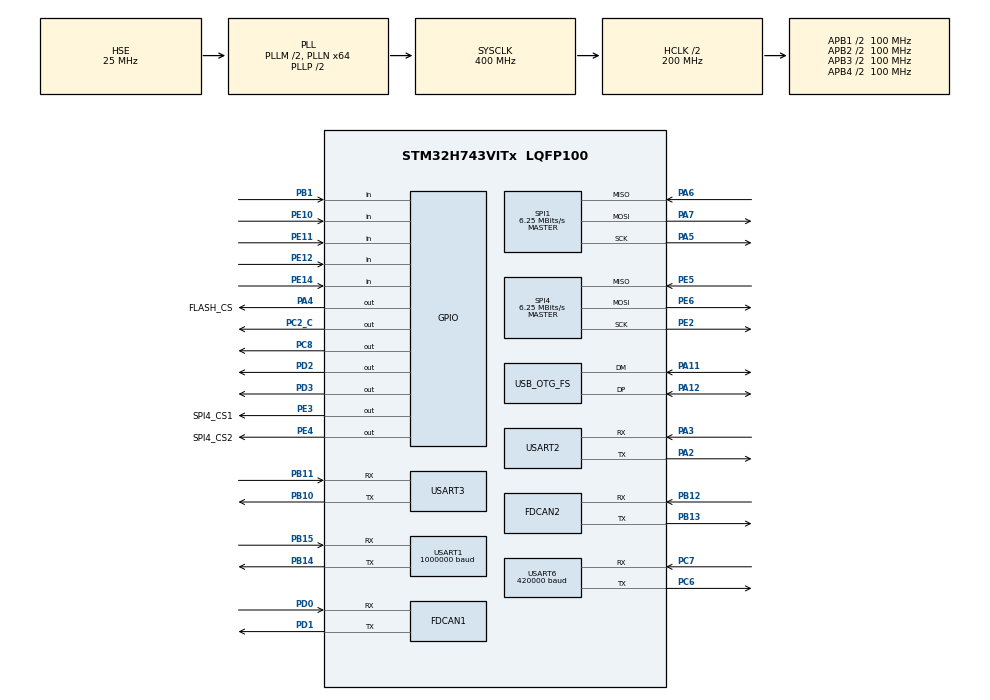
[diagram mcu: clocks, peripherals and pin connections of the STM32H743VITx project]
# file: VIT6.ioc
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CORTEX_M7.AccessPermission_Spec=MPU_REGION_FULL_ACCESS
CORTEX_M7.BaseAddress_Spec=0x30040000
CORTEX_M7.CPU_DCache=Enabled
CORTEX_M7.CPU_ICache=Enabled
CORTEX_M7.IsShareable_Spec=MPU_ACCESS_NOT_SHAREABLE
CORTEX_M7.Size_Spec=MPU_REGION_SIZE_32KB
CORTEX_M7.SubRegionDisable_Spec=0x0
CORTEX_M7.TypeExtField_Spec=MPU_TEX_LEVEL1
CORTEX_M7.default_mode_Activation=1
Dma.Request0=USART6_RX
Dma.Request1=USART1_RX
Dma.Request2=USART1_TX
Dma.Request3=USART2_RX
Dma.Request4=USART2_TX
Dma.Request5=USART3_TX
Dma.Request6=USART3_RX
Dma.USART1_RX.1.Direction=DMA_PERIPH_TO_MEMORY
Dma.USART1_RX.1.EventEnable=DISABLE
Dma.USART1_RX.1.FIFOMode=DMA_FIFOMODE_DISABLE
Dma.USART1_RX.1.Instance=DMA1_Stream1
Dma.USART1_RX.1.MemDataAlignment=DMA_MDATAALIGN_BYTE
Dma.USART1_RX.1.MemInc=DMA_MINC_ENABLE
Dma.USART1_RX.1.Mode=DMA_NORMAL
Dma.USART1_RX.1.PeriphDataAlignment=DMA_PDATAALIGN_BYTE
Dma.USART1_RX.1.PeriphInc=DMA_PINC_DISABLE
Dma.USART1_RX.1.Polarity=HAL_DMAMUX_REQ_GEN_RISING
Dma.USART1_RX.1.Priority=DMA_PRIORITY_LOW
Dma.USART1_RX.1.RequestNumber=1
Dma.USART1_RX.1.SignalID=NONE
Dma.USART1_RX.1.SyncEnable=DISABLE
Dma.USART1_RX.1.SyncPolarity=HAL_DMAMUX_SYNC_NO_EVENT
Dma.USART1_RX.1.SyncRequestNumber=1
Dma.USART1_RX.1.SyncSignalID=NONE
Dma.USART1_TX.2.Direction=DMA_MEMORY_TO_PERIPH
Dma.USART1_TX.2.EventEnable=DISABLE
Dma.USART1_TX.2.FIFOMode=DMA_FIFOMODE_DISABLE
Dma.USART1_TX.2.Instance=DMA1_Stream2
Dma.USART1_TX.2.MemDataAlignment=DMA_MDATAALIGN_BYTE
Dma.USART1_TX.2.MemInc=DMA_MINC_ENABLE
Dma.USART1_TX.2.Mode=DMA_NORMAL
Dma.USART1_TX.2.PeriphDataAlignment=DMA_PDATAALIGN_BYTE
Dma.USART1_TX.2.PeriphInc=DMA_PINC_DISABLE
Dma.USART1_TX.2.Polarity=HAL_DMAMUX_REQ_GEN_RISING
Dma.USART1_TX.2.Priority=DMA_PRIORITY_LOW
Dma.USART1_TX.2.RequestNumber=1
Dma.USART1_TX.2.SignalID=NONE
Dma.USART1_TX.2.SyncEnable=DISABLE
Dma.USART1_TX.2.SyncPolarity=HAL_DMAMUX_SYNC_NO_EVENT
Dma.USART1_TX.2.SyncRequestNumber=1
Dma.USART1_TX.2.SyncSignalID=NONE
Dma.USART2_RX.3.Direction=DMA_PERIPH_TO_MEMORY
Dma.USART2_RX.3.EventEnable=DISABLE
Dma.USART2_RX.3.FIFOMode=DMA_FIFOMODE_DISABLE
Dma.USART2_RX.3.Instance=DMA1_Stream3
Dma.USART2_RX.3.MemDataAlignment=DMA_MDATAALIGN_BYTE
Dma.USART2_RX.3.MemInc=DMA_MINC_ENABLE
Dma.USART2_RX.3.Mode=DMA_CIRCULAR
Dma.USART2_RX.3.PeriphDataAlignment=DMA_PDATAALIGN_BYTE
Dma.USART2_RX.3.PeriphInc=DMA_PINC_DISABLE
Dma.USART2_RX.3.Polarity=HAL_DMAMUX_REQ_GEN_RISING
Dma.USART2_RX.3.Priority=DMA_PRIORITY_LOW
Dma.USART2_RX.3.RequestNumber=1
Dma.USART2_RX.3.SignalID=NONE
Dma.USART2_RX.3.SyncEnable=DISABLE
Dma.USART2_RX.3.SyncPolarity=HAL_DMAMUX_SYNC_NO_EVENT
Dma.USART2_RX.3.SyncRequestNumber=1
Dma.USART2_RX.3.SyncSignalID=NONE
Dma.USART2_TX.4.Direction=DMA_MEMORY_TO_PERIPH
Dma.USART2_TX.4.EventEnable=DISABLE
Dma.USART2_TX.4.FIFOMode=DMA_FIFOMODE_DISABLE
Dma.USART2_TX.4.Instance=DMA1_Stream4
Dma.USART2_TX.4.MemDataAlignment=DMA_MDATAALIGN_BYTE
Dma.USART2_TX.4.MemInc=DMA_MINC_ENABLE
Dma.USART2_TX.4.Mode=DMA_NORMAL
Dma.USART2_TX.4.PeriphDataAlignment=DMA_PDATAALIGN_BYTE
Dma.USART2_TX.4.PeriphInc=DMA_PINC_DISABLE
Dma.USART2_TX.4.Polarity=HAL_DMAMUX_REQ_GEN_RISING
Dma.USART2_TX.4.Priority=DMA_PRIORITY_LOW
Dma.USART2_TX.4.RequestNumber=1
Dma.USART2_TX.4.SignalID=NONE
Dma.USART2_TX.4.SyncEnable=DISABLE
Dma.USART2_TX.4.SyncPolarity=HAL_DMAMUX_SYNC_NO_EVENT
Dma.USART2_TX.4.SyncRequestNumber=1
Dma.USART2_TX.4.SyncSignalID=NONE
Dma.USART3_RX.6.Direction=DMA_PERIPH_TO_MEMORY
Dma.USART3_RX.6.EventEnable=DISABLE
Dma.USART3_RX.6.FIFOMode=DMA_FIFOMODE_DISABLE
Dma.USART3_RX.6.Instance=DMA2_Stream3
Dma.USART3_RX.6.MemDataAlignment=DMA_MDATAALIGN_BYTE
Dma.USART3_RX.6.MemInc=DMA_MINC_ENABLE
Dma.USART3_RX.6.Mode=DMA_NORMAL
Dma.USART3_RX.6.PeriphDataAlignment=DMA_PDATAALIGN_BYTE
Dma.USART3_RX.6.PeriphInc=DMA_PINC_DISABLE
Dma.USART3_RX.6.Polarity=HAL_DMAMUX_REQ_GEN_RISING
Dma.USART3_RX.6.Priority=DMA_PRIORITY_LOW
Dma.USART3_RX.6.RequestNumber=1
Dma.USART3_RX.6.SignalID=NONE
Dma.USART3_RX.6.SyncEnable=DISABLE
Dma.USART3_RX.6.SyncPolarity=HAL_DMAMUX_SYNC_NO_EVENT
Dma.USART3_RX.6.SyncRequestNumber=1
Dma.USART3_RX.6.SyncSignalID=NONE
Dma.USART3_TX.5.Direction=DMA_MEMORY_TO_PERIPH
Dma.USART3_TX.5.EventEnable=DISABLE
Dma.USART3_TX.5.FIFOMode=DMA_FIFOMODE_DISABLE
Dma.USART3_TX.5.Instance=DMA1_Stream5
Dma.USART3_TX.5.MemDataAlignment=DMA_MDATAALIGN_BYTE
Dma.USART3_TX.5.MemInc=DMA_MINC_ENABLE
Dma.USART3_TX.5.Mode=DMA_NORMAL
Dma.USART3_TX.5.PeriphDataAlignment=DMA_PDATAALIGN_BYTE
Dma.USART3_TX.5.PeriphInc=DMA_PINC_DISABLE
Dma.USART3_TX.5.Polarity=HAL_DMAMUX_REQ_GEN_RISING
Dma.USART3_TX.5.Priority=DMA_PRIORITY_LOW
Dma.USART3_TX.5.RequestNumber=1
Dma.USART3_TX.5.SignalID=NONE
Dma.USART3_TX.5.SyncEnable=DISABLE
Dma.USART3_TX.5.SyncPolarity=HAL_DMAMUX_SYNC_NO_EVENT
Dma.USART3_TX.5.SyncRequestNumber=1
Dma.USART3_TX.5.SyncSignalID=NONE
Dma.USART6_RX.0.Direction=DMA_PERIPH_TO_MEMORY
Dma.USART6_RX.0.EventEnable=DISABLE
Dma.USART6_RX.0.FIFOMode=DMA_FIFOMODE_DISABLE
Dma.USART6_RX.0.Instance=DMA1_Stream0
Dma.USART6_RX.0.MemDataAlignment=DMA_MDATAALIGN_BYTE
Dma.USART6_RX.0.MemInc=DMA_MINC_ENABLE
Dma.USART6_RX.0.Mode=DMA_CIRCULAR
Dma.USART6_RX.0.PeriphDataAlignment=DMA_PDATAALIGN_BYTE
Dma.USART6_RX.0.PeriphInc=DMA_PINC_DISABLE
Dma.USART6_RX.0.Polarity=HAL_DMAMUX_REQ_GEN_RISING
Dma.USART6_RX.0.Priority=DMA_PRIORITY_LOW
Dma.USART6_RX.0.RequestNumber=1
Dma.USART6_RX.0.SignalID=NONE
Dma.USART6_RX.0.SyncEnable=DISABLE
Dma.USART6_RX.0.SyncPolarity=HAL_DMAMUX_SYNC_NO_EVENT
Dma.USART6_RX.0.SyncRequestNumber=1
Dma.USART6_RX.0.SyncSignalID=NONE
FDCAN1.AutoRetransmission=ENABLE
FDCAN1.CalculateBaudRateNominal=1000000
FDCAN1.CalculateTimeBitNominal=1000
FDCAN1.CalculateTimeQuantumNominal=50.0
FDCAN1.DataPrescaler=2
FDCAN1.DataTimeSeg1=15
FDCAN1.DataTimeSeg2=4
FDCAN1.FrameFormat=FDCAN_FRAME_CLASSIC
FDCAN1.Mode=FDCAN_MODE_NORMAL
FDCAN1.NominalPrescaler=5
FDCAN1.NominalSyncJumpWidth=4
FDCAN1.NominalTimeSeg1=15
FDCAN1.NominalTimeSeg2=4
FDCAN1.RxBufferSize=FDCAN_DATA_BYTES_64
FDCAN1.RxFifo0ElmtSize=FDCAN_DATA_BYTES_64
FDCAN1.RxFifo0ElmtsNbr=24
FDCAN1.RxFifo1ElmtSize=FDCAN_DATA_BYTES_64
FDCAN1.RxFifo1ElmtsNbr=8
FDCAN1.StdFiltersNbr=8
FDCAN1.TxBuffersNbr=0
FDCAN1.TxElmtSize=FDCAN_DATA_BYTES_64
FDCAN1.TxFifoQueueElmtsNbr=32
FDCAN2.AutoRetransmission=ENABLE
FDCAN2.CalculateBaudRateNominal=1000000
FDCAN2.CalculateTimeBitNominal=1000
FDCAN2.CalculateTimeQuantumNominal=50.0
FDCAN2.DataPrescaler=2
FDCAN2.DataTimeSeg1=15
FDCAN2.DataTimeSeg2=4
FDCAN2.FrameFormat=FDCAN_FRAME_CLASSIC
FDCAN2.MessageRAMOffset=1280
FDCAN2.Mode=FDCAN_MODE_NORMAL
FDCAN2.NominalPrescaler=5
FDCAN2.NominalSyncJumpWidth=4
FDCAN2.NominalTimeSeg1=15
FDCAN2.NominalTimeSeg2=4
FDCAN2.ProtocolException=DISABLE
FDCAN2.RxBufferSize=FDCAN_DATA_BYTES_64
FDCAN2.RxFifo0ElmtSize=FDCAN_DATA_BYTES_64
FDCAN2.RxFifo0ElmtsNbr=24
FDCAN2.RxFifo1ElmtSize=FDCAN_DATA_BYTES_64
FDCAN2.RxFifo1ElmtsNbr=8
FDCAN2.StdFiltersNbr=8
FDCAN2.TxBuffersNbr=0
FDCAN2.TxElmtSize=FDCAN_DATA_BYTES_64
FDCAN2.TxFifoQueueElmtsNbr=32
FREERTOS.Tasks01=Chassis_Task,32,512,ChassisControl,Default,NULL,Dynamic,NULL,NULL;DJIMotor_Task,40,1024,DJIMotor,Default,NULL,Dynamic,NULL,NULL;usb_Task,32,512,Usb_Task,Default,NULL,Dynamic,NULL,NULL;Remot_Task,32,128,StartRemote,Default,NULL,Dynamic,NULL,NULL;Catch_Task,16,768,catch_start,Default,NULL,Dynamic,NULL,NULL;Arm_Task,16,512,Arm_Start,Default,NULL,Dynamic,NULL,NULL
FREERTOS.configENABLE_FPU=1
FREERTOS.configTOTAL_HEAP_SIZE=32768
Mcu.Family=STM32H7
Mcu.Name=STM32H743VITx
Mcu.Package=LQFP100
NVIC.DMA1_Stream0_IRQn=true\:5\:0\:false\:false\:true\:true\:false\:true\:true
NVIC.DMA1_Stream1_IRQn=true\:5\:0\:false\:false\:true\:true\:false\:true\:true
NVIC.DMA1_Stream2_IRQn=true\:5\:0\:false\:false\:true\:true\:false\:true\:true
NVIC.DMA1_Stream3_IRQn=true\:5\:0\:false\:false\:true\:true\:false\:true\:true
NVIC.DMA1_Stream4_IRQn=true\:5\:0\:false\:false\:true\:true\:false\:true\:true
NVIC.DMA1_Stream5_IRQn=true\:5\:0\:false\:false\:true\:true\:false\:true\:true
NVIC.DMA2_Stream3_IRQn=true\:5\:0\:false\:false\:true\:false\:false\:true\:true
NVIC.FDCAN1_IT0_IRQn=true\:5\:0\:false\:false\:true\:true\:true\:true\:true
NVIC.FDCAN1_IT1_IRQn=true\:5\:0\:true\:false\:true\:true\:true\:true\:true
NVIC.FDCAN2_IT0_IRQn=true\:5\:0\:true\:false\:true\:true\:true\:true\:true
NVIC.FDCAN2_IT1_IRQn=true\:5\:0\:false\:false\:true\:true\:true\:true\:true
NVIC.OTG_FS_IRQn=true\:5\:0\:false\:false\:true\:true\:false\:true\:true
NVIC.PriorityGroup=NVIC_PRIORITYGROUP_4
NVIC.TIM7_IRQn=true\:15\:0\:false\:false\:true\:false\:false\:true\:true
NVIC.TimeBase=TIM7_IRQn
NVIC.TimeBaseIP=TIM7
NVIC.USART1_IRQn=true\:5\:0\:false\:false\:true\:true\:true\:true\:true
NVIC.USART2_IRQn=true\:5\:0\:false\:false\:true\:true\:true\:true\:true
NVIC.USART6_IRQn=true\:6\:0\:true\:false\:true\:true\:true\:true\:true
PA11.Mode=Device_Only
PA11.Signal=USB_OTG_FS_DM
PA12.Mode=Device_Only
PA12.Signal=USB_OTG_FS_DP
PA13\ (JTMS/SWDIO).Mode=Serial_Wire
PA13\ (JTMS/SWDIO).Signal=DEBUG_JTMS-SWDIO
PA14\ (JTCK/SWCLK).Mode=Serial_Wire
PA14\ (JTCK/SWCLK).Signal=DEBUG_JTCK-SWCLK
PA2.Mode=Asynchronous
PA2.Signal=USART2_TX
PA3.Mode=Asynchronous
PA3.Signal=USART2_RX
PA4.GPIO_Label=FLASH_CS
PA4.GPIO_PuPd=GPIO_PULLUP
PA4.GPIO_Speed=GPIO_SPEED_FREQ_HIGH
PA4.PinState=GPIO_PIN_SET
PA4.Signal=GPIO_Output
PA5.GPIO_Speed=GPIO_SPEED_FREQ_HIGH
PA5.Mode=Full_Duplex_Master
PA5.Signal=SPI1_SCK
PA6.GPIO_Speed=GPIO_SPEED_FREQ_HIGH
PA6.Mode=Full_Duplex_Master
PA6.Signal=SPI1_MISO
PA7.GPIO_Speed=GPIO_SPEED_FREQ_HIGH
PA7.Mode=Full_Duplex_Master
PA7.Signal=SPI1_MOSI
PB1.Signal=GPIO_Input
PB10.Mode=Asynchronous
PB10.Signal=USART3_TX
PB11.Mode=Asynchronous
PB11.Signal=USART3_RX
PB12.GPIO_Speed=GPIO_SPEED_FREQ_VERY_HIGH
PB12.Mode=FDCAN_Activate
PB12.Signal=FDCAN2_RX
PB13.GPIO_Speed=GPIO_SPEED_FREQ_VERY_HIGH
PB13.Mode=FDCAN_Activate
PB13.Signal=FDCAN2_TX
PB14.Mode=Asynchronous
PB14.Signal=USART1_TX
PB15.Mode=Asynchronous
PB15.Signal=USART1_RX
PC2_C.Signal=GPIO_Output
PC6.Mode=Asynchronous
PC6.Signal=USART6_TX
PC7.Mode=Asynchronous
PC7.Signal=USART6_RX
PC8.Signal=GPIO_Output
PD0.GPIO_Speed=GPIO_SPEED_FREQ_VERY_HIGH
PD0.Mode=FDCAN_Activate
PD0.Signal=FDCAN1_RX
PD1.GPIO_Speed=GPIO_SPEED_FREQ_VERY_HIGH
PD1.Mode=FDCAN_Activate
PD1.Signal=FDCAN1_TX
PD2.Signal=GPIO_Output
PD3.Signal=GPIO_Output
PE10.Signal=GPIO_Input
PE11.Signal=GPIO_Input
PE12.Signal=GPIO_Input
PE14.Signal=GPIO_Input
PE2.Mode=Full_Duplex_Master
PE2.Signal=SPI4_SCK
PE3.GPIO_Label=SPI4_CS1
PE3.PinState=GPIO_PIN_SET
PE3.Signal=GPIO_Output
PE4.GPIO_Label=SPI4_CS2
PE4.PinState=GPIO_PIN_SET
PE4.Signal=GPIO_Output
PE5.Mode=Full_Duplex_Master
PE5.Signal=SPI4_MISO
PE6.Mode=Full_Duplex_Master
PE6.Signal=SPI4_MOSI
PH0-OSC_IN\ (PH0).Mode=HSE-External-Oscillator
PH0-OSC_IN\ (PH0).Signal=RCC_OSC_IN
PH1-OSC_OUT\ (PH1).Mode=HSE-External-Oscillator
PH1-OSC_OUT\ (PH1).Signal=RCC_OSC_OUT
ProjectManager.HeapSize=0x4000
ProjectManager.StackSize=0x1000
ProjectManager.TargetToolchain=MDK-ARM V5.32
RCC.ADCFreq_Value=50390625
RCC.APB1Freq_Value=100000000
RCC.APB2Freq_Value=100000000
RCC.APB3Freq_Value=100000000
RCC.APB4Freq_Value=100000000
RCC.CortexFreq_Value=400000000
RCC.D1PPRE=RCC_APB3_DIV2
RCC.D2PPRE1=RCC_APB1_DIV2
RCC.D2PPRE2=RCC_APB2_DIV2
RCC.D3PPRE=RCC_APB4_DIV2
RCC.DIVM1=2
RCC.DIVM3=5
RCC.DIVN1=64
RCC.DIVN3=96
RCC.DIVQ1=8
RCC.DIVQ3=10
RCC.HCLKFreq_Value=200000000
RCC.HPRE=RCC_HCLK_DIV2
RCC.PLL2FRACN=0
RCC.PLL3FRACN=0
RCC.PLLFRACN=0
RCC.PLLSourceVirtual=RCC_PLLSOURCE_HSE
RCC.SYSCLKFreq_VALUE=400000000
RCC.SYSCLKSource=RCC_SYSCLKSOURCE_PLLCLK
RCC.USBCLockSelection=RCC_USBCLKSOURCE_PLL3
RCC.USBFreq_Value=48000000
SPI1.BaudRatePrescaler=SPI_BAUDRATEPRESCALER_16
SPI1.CalculateBaudRate=6.25 MBits/s
SPI1.DataSize=SPI_DATASIZE_8BIT
SPI1.Direction=SPI_DIRECTION_2LINES
SPI1.Mode=SPI_MODE_MASTER
SPI1.NSSPMode=SPI_NSS_PULSE_DISABLE
SPI1.VirtualType=VM_MASTER
SPI4.BaudRatePrescaler=SPI_BAUDRATEPRESCALER_16
SPI4.CalculateBaudRate=6.25 MBits/s
SPI4.DataSize=SPI_DATASIZE_8BIT
SPI4.Direction=SPI_DIRECTION_2LINES
SPI4.Mode=SPI_MODE_MASTER
SPI4.NSSPMode=SPI_NSS_PULSE_DISABLE
SPI4.VirtualType=VM_MASTER
USART1.BaudRate=1000000
USART1.FIFOMode=FIFOMODE_ENABLE
USART1.VirtualMode-Asynchronous=VM_ASYNC
USART2.VirtualMode-Asynchronous=VM_ASYNC
USART3.VirtualMode-Asynchronous=VM_ASYNC
USART6.BaudRate=420000
USART6.VirtualMode=VM_ASYNC
USB_DEVICE.CLASS_NAME_FS=CDC
USB_DEVICE.VirtualMode-CDC_FS=Cdc
USB_DEVICE.VirtualModeFS=Cdc_FS
USB_OTG_FS.VirtualMode=Device_Only
VP_FREERTOS_VS_CMSIS_V2.Mode=CMSIS_V2
VP_MEMORYMAP_VS_MEMORYMAP.Mode=CurAppReg
VP_SYS_VS_tim7.Mode=TIM7
VP_USB_DEVICE_VS_USB_DEVICE_CDC_FS.Mode=CDC_FS
board=custom

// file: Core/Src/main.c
/* USER CODE BEGIN Header */
/**
  ******************************************************************************
  * @file           : main.c
  * @brief          : Main program body
  ******************************************************************************
  * @attention
  *
  * Copyright (c) 2026 STMicroelectronics.
  * All rights reserved.
  *
  * This software is licensed under terms that can be found in the LICENSE file
  * in the root directory of this software component.
  * If no LICENSE file comes with this software, it is provided AS-IS.
  *
  ******************************************************************************
  */
/* USER CODE END Header */
#include "main.h"
#include "FreeRTOS.h"
#include "cmsis_os2.h"
#include "dma.h"
#include "fdcan.h"
#include "spi.h"
#include "usart.h"
#include "usb_device.h"
#include "gpio.h"

/* USER CODE BEGIN Includes */
#include "Test.h"
#include "Flash.h"
#include "usb.h"
#include "BMI088.h"
#include "remote.h"
#include "bsp_dwt.h"
#include "catch.h"
#include "arm.h"
/* USER CODE END Includes */

void SystemClock_Config(void);
static void MPU_Config(void);
void MX_FREERTOS_Init(void);

int main(void)
   {

  /* MPU Configuration--------------------------------------------------------*/
  MPU_Config();

  /* Enable the CPU Cache */

  /* Enable I-Cache---------------------------------------------------------*/
  SCB_EnableICache();

  /* Enable D-Cache---------------------------------------------------------*/
  SCB_EnableDCache();

  /* MCU Configuration--------------------------------------------------------*/

  /* Reset of all peripherals, Initializes the Flash interface and the Systick. */
  HAL_Init();

  /* Configure the system clock */
  SystemClock_Config();

  /* Initialize all configured peripherals */
  MX_GPIO_Init();
  MX_DMA_Init();
  MX_FDCAN1_Init();
  MX_FDCAN2_Init();
  MX_SPI1_Init();
  MX_USART6_UART_Init();
  MX_SPI4_Init();
  MX_USART1_UART_Init();
  MX_USART2_UART_Init();
  MX_USART3_UART_Init();
  /* USER CODE BEGIN 2 */

  g_bmi088_status = BMI088_Init();
		DWT_Init(400);
  ChassisInit();      // DJIMotorInit() 会调用 FDCANRegister()，自动配置过滤器并启动FDCAN
	//Test_Init();
	 USB_Init();
	  RemoteControlInit();
		CatchInit();
		Arm_Init();
  /* USER CODE END 2 */

  /* Init scheduler */
  osKernelInitialize();  /* Call init function for freertos objects (in cmsis_os2.c) */
  MX_FREERTOS_Init();

  /* Start scheduler */
  osKernelStart();

  /* We should never get here as control is now taken by the scheduler */

  /* Infinite loop */
  while (1)
  {

  }
}

void SystemClock_Config(void)
{
  RCC_OscInitTypeDef RCC_OscInitStruct = {0};
  RCC_ClkInitTypeDef RCC_ClkInitStruct = {0};

  /** Supply configuration update enable
  */
  HAL_PWREx_ConfigSupply(PWR_LDO_SUPPLY);

  /** Configure the main internal regulator output voltage
  */
  __HAL_PWR_VOLTAGESCALING_CONFIG(PWR_REGULATOR_VOLTAGE_SCALE1);

  while(!__HAL_PWR_GET_FLAG(PWR_FLAG_VOSRDY)) {}

  /** Initializes the RCC Oscillators according to the specified parameters
  * in the RCC_OscInitTypeDef structure.
  */
  RCC_OscInitStruct.OscillatorType = RCC_OSCILLATORTYPE_HSE;
  RCC_OscInitStruct.HSEState = RCC_HSE_ON;
  RCC_OscInitStruct.PLL.PLLState = RCC_PLL_ON;
  RCC_OscInitStruct.PLL.PLLSource = RCC_PLLSOURCE_HSE;
  RCC_OscInitStruct.PLL.PLLM = 2;
  RCC_OscInitStruct.PLL.PLLN = 64;
  RCC_OscInitStruct.PLL.PLLP = 2;
  RCC_OscInitStruct.PLL.PLLQ = 8;
  RCC_OscInitStruct.PLL.PLLR = 2;
  RCC_OscInitStruct.PLL.PLLRGE = RCC_PLL1VCIRANGE_3;
  RCC_OscInitStruct.PLL.PLLVCOSEL = RCC_PLL1VCOWIDE;
  RCC_OscInitStruct.PLL.PLLFRACN = 0;
  if (HAL_RCC_OscConfig(&RCC_OscInitStruct) != HAL_OK)
  {
    Error_Handler();
  }

  /** Initializes the CPU, AHB and APB buses clocks
  */
  RCC_ClkInitStruct.ClockType = RCC_CLOCKTYPE_HCLK|RCC_CLOCKTYPE_SYSCLK
                              |RCC_CLOCKTYPE_PCLK1|RCC_CLOCKTYPE_PCLK2
                              |RCC_CLOCKTYPE_D3PCLK1|RCC_CLOCKTYPE_D1PCLK1;
  RCC_ClkInitStruct.SYSCLKSource = RCC_SYSCLKSOURCE_PLLCLK;
  RCC_ClkInitStruct.SYSCLKDivider = RCC_SYSCLK_DIV1;
  RCC_ClkInitStruct.AHBCLKDivider = RCC_HCLK_DIV2;
  RCC_ClkInitStruct.APB3CLKDivider = RCC_APB3_DIV2;
  RCC_ClkInitStruct.APB1CLKDivider = RCC_APB1_DIV2;
  RCC_ClkInitStruct.APB2CLKDivider = RCC_APB2_DIV2;
  RCC_ClkInitStruct.APB4CLKDivider = RCC_APB4_DIV2;

  if (HAL_RCC_ClockConfig(&RCC_ClkInitStruct, FLASH_LATENCY_2) != HAL_OK)
  {
    Error_Handler();
  }
}

 /* MPU Configuration */

void MPU_Config(void)
{
  MPU_Region_InitTypeDef MPU_InitStruct = {0};

  /* Disables the MPU */
  HAL_MPU_Disable();

  /** Initializes and configures the Region and the memory to be protected
  */
  MPU_InitStruct.Enable = MPU_REGION_ENABLE;
  MPU_InitStruct.Number = MPU_REGION_NUMBER0;
  MPU_InitStruct.BaseAddress = 0x30040000;
  MPU_InitStruct.Size = MPU_REGION_SIZE_32KB;
  MPU_InitStruct.SubRegionDisable = 0x0;
  MPU_InitStruct.TypeExtField = MPU_TEX_LEVEL1;
  MPU_InitStruct.AccessPermission = MPU_REGION_FULL_ACCESS;
  MPU_InitStruct.DisableExec = MPU_INSTRUCTION_ACCESS_DISABLE;
  MPU_InitStruct.IsShareable = MPU_ACCESS_NOT_SHAREABLE;
  MPU_InitStruct.IsCacheable = MPU_ACCESS_NOT_CACHEABLE;
  MPU_InitStruct.IsBufferable = MPU_ACCESS_NOT_BUFFERABLE;

  HAL_MPU_ConfigRegion(&MPU_InitStruct);
  /* Enables the MPU */
  HAL_MPU_Enable(MPU_PRIVILEGED_DEFAULT);

}

void HAL_TIM_PeriodElapsedCallback(TIM_HandleTypeDef *htim)
{
  if (htim->Instance == TIM7)
  {
    HAL_IncTick();
  }
}

void Error_Handler(void)
{
  __disable_irq();
  while (1)
  {
  }
}

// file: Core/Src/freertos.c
/* USER CODE BEGIN Header */
/**
  ******************************************************************************
  * File Name          : freertos.c
  * Description        : Code for freertos applications
  ******************************************************************************
  * @attention
  *
  * Copyright (c) 2026 STMicroelectronics.
  * All rights reserved.
  *
  * This software is licensed under terms that can be found in the LICENSE file
  * in the root directory of this software component.
  * If no LICENSE file comes with this software, it is provided AS-IS.
  *
  ******************************************************************************
  */
/* USER CODE END Header */

#include "FreeRTOS.h"
#include "task.h"
#include "main.h"
#include "FreeRTOS.h"
#include "cmsis_os2.h"

/* USER CODE BEGIN Includes */
#include "Test.h"
#include "dji_motor.h"
#include "usb.h"
#include "remote.h" // 新增导入遥控器库
#include "catch.h"
#include "arm.h"
#include "feite_motor.h"
#include "dm_motor.h"
/* USER CODE END Includes */

/* Definitions for Chassis_Task */
osThreadId_t Chassis_TaskHandle;
const osThreadAttr_t Chassis_Task_attributes = {
  .name = "Chassis_Task",
  .stack_size = 512 * 4,
  .priority = (osPriority_t) osPriorityAboveNormal,
};
/* Definitions for DJIMotor_Task */
osThreadId_t DJIMotor_TaskHandle;
const osThreadAttr_t DJIMotor_Task_attributes = {
  .name = "DJIMotor_Task",
  .stack_size = 1024 * 4,
  .priority = (osPriority_t) osPriorityHigh,
};
/* Definitions for usb_Task */
osThreadId_t usb_TaskHandle;
const osThreadAttr_t usb_Task_attributes = {
  .name = "usb_Task",
  .stack_size = 512 * 4,
  .priority = (osPriority_t) osPriorityAboveNormal,
};
/* Definitions for Remot_Task */
osThreadId_t Remot_TaskHandle;
const osThreadAttr_t Remot_Task_attributes = {
  .name = "Remot_Task",
  .stack_size = 128 * 4,
  .priority = (osPriority_t) osPriorityAboveNormal,
};
/* Definitions for Catch_Task */
osThreadId_t Catch_TaskHandle;
const osThreadAttr_t Catch_Task_attributes = {
  .name = "Catch_Task",
  .stack_size = 768 * 4,
  .priority = (osPriority_t) osPriorityBelowNormal,
};
/* Definitions for Arm_Task */
osThreadId_t Arm_TaskHandle;
const osThreadAttr_t Arm_Task_attributes = {
  .name = "Arm_Task",
  .stack_size = 512 * 4,
  .priority = (osPriority_t) osPriorityBelowNormal,
};

void ChassisControl(void *argument);
void DJIMotor(void *argument);
void Usb_Task(void *argument);
void StartRemote(void *argument);
void catch_start(void *argument);
void Arm_Start(void *argument);

extern void MX_USB_DEVICE_Init(void);
void MX_FREERTOS_Init(void); /* (MISRA C 2004 rule 8.1) */

void MX_FREERTOS_Init(void) {

  /* Create the thread(s) */
  /* creation of Chassis_Task */
  Chassis_TaskHandle = osThreadNew(ChassisControl, NULL, &Chassis_Task_attributes);

  /* creation of DJIMotor_Task */
  DJIMotor_TaskHandle = osThreadNew(DJIMotor, NULL, &DJIMotor_Task_attributes);

  /* creation of usb_Task */
  usb_TaskHandle = osThreadNew(Usb_Task, NULL, &usb_Task_attributes);

  /* creation of Remot_Task */
  Remot_TaskHandle = osThreadNew(StartRemote, NULL, &Remot_Task_attributes);

  /* creation of Catch_Task */
  Catch_TaskHandle = osThreadNew(catch_start, NULL, &Catch_Task_attributes);

  /* creation of Arm_Task */
  Arm_TaskHandle = osThreadNew(Arm_Start, NULL, &Arm_Task_attributes);

}

void ChassisControl(void *argument)
{
  /* init code for USB_DEVICE */
  MX_USB_DEVICE_Init();
  /* USER CODE BEGIN ChassisControl */
  /* Infinite loop */
  for(;;)
  {
		ChassisTask();

    osDelay(1);
  }
  /* USER CODE END ChassisControl */
}

void DJIMotor(void *argument)
{
  /* USER CODE BEGIN DJIMotor */
  /* Infinite loop */
  for(;;)
  {
		DJIMotorControl();
		DMMotorControl();
		//FeiteMotorControl();
    osDelay(1);
  }
  /* USER CODE END DJIMotor */
}

void Usb_Task(void *argument)
{
  /* USER CODE BEGIN Usb_Task */
  /* Infinite loop */
  for(;;)
  {
		USB_ProcessTask();
    osDelay(1);
  }
  /* USER CODE END Usb_Task */
}

void StartRemote(void *argument)
{
  /* USER CODE BEGIN StartRemote */
  /* Infinite loop */
  for(;;)
  {
        // 这一步直接内部包含了 osThreadFlagsWait 的无限等待阻塞功能
        // 在没有接收到遥控器中断发送的信号时，此任务不占用系统任何开销
        RemoteControlTask();
  }
  /* USER CODE END StartRemote */
}

void catch_start(void *argument)
{
  /* USER CODE BEGIN catch_start */
  /* Infinite loop */
  for(;;)
  {
		CatchTask();
    osDelay(1);
  }
  /* USER CODE END catch_start */
}

void Arm_Start(void *argument)
{
  /* USER CODE BEGIN Arm_Start */
  /* Infinite loop */
  for(;;)
  {
		Arm_Task();
    osDelay(1);
  }
  /* USER CODE END Arm_Start */
}
